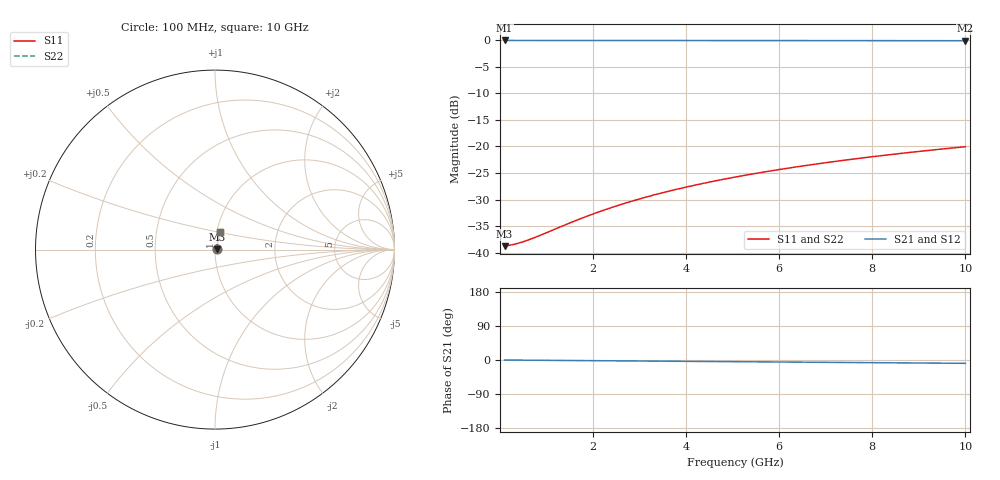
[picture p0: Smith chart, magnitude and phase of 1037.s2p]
# Hz S RI R 50.00
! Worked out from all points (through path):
!   100 points, 100 MHz to 10 GHz, reference 50 ohm
!   highest |S21| = -0.10 dB at 100 MHz (marker M1); lowest = -0.2 dB at 10 GHz (marker M2)
!   group delay of S21, straight-line fit = 2.44 ps
!   lowest |S11| = -38.7 dB at 100 MHz (marker M3), VSWR 1.02, Z = 51.2 + j0.0999 ohm
!   |S11| at or under -10 dB: start of sweep to end of sweep
!   |S22| runs from -38.7 to -20.0 dB; largest |S21 - S12| = 0
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1e8  0.0116 0.000976  0.9884 -0.00152  0.9884 -0.00152  0.0116 0.000976
2e8  0.0116 0.00195  0.9884 -0.00304  0.9884 -0.00304  0.0116 0.00195
3e8  0.0117 0.00293  0.9883 -0.00456  0.9883 -0.00456  0.0117 0.00293
4e8  0.0117 0.0039  0.9882 -0.00608  0.9882 -0.00608  0.0117 0.0039
6e8  0.0119 0.00585  0.9881 -0.00912  0.9881 -0.00912  0.0119 0.00585
8e8  0.0119 0.0078  0.988 -0.0122  0.988 -0.0122  0.0119 0.0078
1.5e9  0.0123 0.0146  0.9876 -0.0228  0.9876 -0.0228  0.0123 0.0146
1.8e9  0.0125 0.0175  0.9874 -0.0274  0.9874 -0.0274  0.0125 0.0175
2.2e9  0.0128 0.0214  0.9871 -0.0334  0.9871 -0.0334  0.0128 0.0214
2.6e9  0.0132 0.0253  0.9867 -0.0395  0.9867 -0.0395  0.0132 0.0253
3e9  0.0135 0.0292  0.9863 -0.0455  0.9863 -0.0455  0.0135 0.0292
3.4e9  0.014 0.0331  0.9858 -0.0516  0.9858 -0.0516  0.014 0.0331
3.8e9  0.0144 0.0369  0.9853 -0.0577  0.9853 -0.0577  0.0144 0.0369
4.2e9  0.015 0.0408  0.9848 -0.0637  0.9848 -0.0637  0.015 0.0408
4.6e9  0.0155 0.0446  0.9841 -0.0697  0.9841 -0.0697  0.0155 0.0446
5.1e9  0.0163 0.0494  0.9833 -0.0773  0.9833 -0.0773  0.0163 0.0494
5.9e9  0.0176 0.0571  0.9818 -0.0893  0.9818 -0.0893  0.0176 0.0571
6.7e9  0.0192 0.0647  0.9801 -0.1013  0.9801 -0.1013  0.0192 0.0647
7.5e9  0.0209 0.0723  0.9782 -0.1132  0.9782 -0.1132  0.0209 0.0723
8.4e9  0.0231 0.0807  0.9758 -0.1266  0.9758 -0.1266  0.0231 0.0807
9.2e9  0.0252 0.0882  0.9734 -0.1384  0.9734 -0.1384  0.0252 0.0882
1e10  0.0276 0.0956  0.9709 -0.1502  0.9709 -0.1502  0.0276 0.0956
